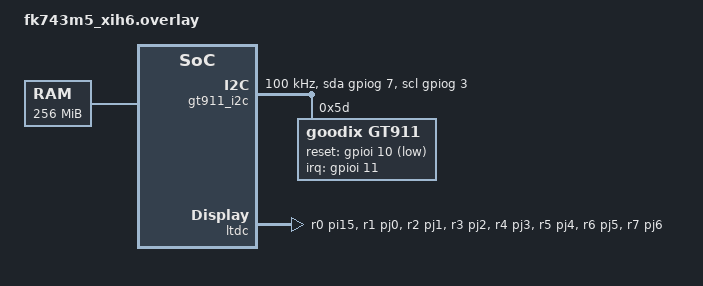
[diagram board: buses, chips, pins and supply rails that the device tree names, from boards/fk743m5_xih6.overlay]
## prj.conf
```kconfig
CONFIG_STDOUT_CONSOLE=y
# CONFIG_FLASH=y
# CONFIG_SPI=y
CONFIG_PRINTK=y
CONFIG_SHELL=y
CONFIG_I2C=y
CONFIG_I2C_SHELL=y
CONFIG_LOG=y
# CONFIG_FLASH_SHELL=y
# CONFIG_FLASH_SHELL_TEST_COMMANDS=y
# # CONFIG_FLASH_SHELL_BUFFER_SIZE=0x10000
# CONFIG_FLASH_JESD216_API=y
# CONFIG_STM32_MEMMAP=y

# CONFIG_FILE_SYSTEM=y
# CONFIG_ZMS=y
# CONFIG_SETTINGS=y
CONFIG_CACHE_MANAGEMENT=y
CONFIG_MEMC=y

CONFIG_DISPLAY=y
CONFIG_HEAP_MEM_POOL_SIZE=81920

CONFIG_MEMC=y
# CONFIG_STM32_LTDC_RGB565=y
# CONFIG_DISPLAY_INIT_PRIORITY=87
# CONFIG_STM32_LTDC_DISABLE_FMC_BANK1=y
# CONFIG_INPUT_GT911_INTERRUPT=y
# CONFIG_STM32_LTDC_FB_USE_SHARED_MULTI_HEAP=y
CONFIG_LVGL=y
CONFIG_LV_USE_LOG=y
CONFIG_LV_USE_LABEL=y
CONFIG_LV_USE_ARC=y
CONFIG_LV_USE_MONKEY=y
CONFIG_LV_FONT_MONTSERRAT_14=y
CONFIG_LV_Z_MEM_POOL_SIZE=16384
CONFIG_LV_Z_SHELL=y
CONFIG_MAIN_STACK_SIZE=10240

CONFIG_DISPLAY=y
CONFIG_DISPLAY_LOG_LEVEL_ERR=y
CONFIG_INPUT=y
# CONFIG_LV_Z_POINTER_INPUT=y
# CONFIG_INPUT_EVENT_DUMP=y
CONFIG_LV_USE_DRAW_DMA2D=y
CONFIG_LV_LOG_LEVEL_TRACE=y
CONFIG_LV_USE_SYSMON=y

# CONFIG_INPUT_LOG_LEVEL_DBG=y# CONFIG_LV_USE_PROFILER=y

CONFIG_INPUT_EVENT_DUMP=y


CONFIG_LV_Z_MEM_POOL_SIZE=16384
CONFIG_LV_Z_SHELL=y
CONFIG_MAIN_STACK_SIZE=4096

CONFIG_DISPLAY=y
CONFIG_DISPLAY_LOG_LEVEL_ERR=y

CONFIG_LOG=y
CONFIG_SHELL=y

CONFIG_LVGL=y
CONFIG_LV_USE_LOG=y
CONFIG_LV_USE_LABEL=y
CONFIG_LV_USE_ARC=y
CONFIG_LV_USE_MONKEY=y
CONFIG_LV_FONT_MONTSERRAT_14=y
CONFIG_LV_Z_POINTER_INPUT_MSGQ_COUNT=15
CONFIG_INPUT_LOG_LEVEL_DBG=y
CONFIG_LV_Z_FLUSH_THREAD=y
CONFIG_LV_CONF_SKIP=n
CONFIG_LV_Z_FLUSH_THREAD_STACK_SIZE=4096
```

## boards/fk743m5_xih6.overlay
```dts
/{
	ext_memory: memory@90000000 {
		compatible = "zephyr,memory-region";
		reg = <0x90000000 DT_SIZE_M(256)>;
		// Signify that this node should result in a dedicated linker script
		// memory region in the final executable. The region address and size
		// is taken from the <reg> property, while the name is the value of
		// this property.
		zephyr,memory-region = "EXTMEM";
		/* The ATTR_MPU_EXTMEM attribut causing a MPU FAULT */
		zephyr,memory-attr = <( DT_MEM_ARM(ATTR_MPU_IO) )>;
		// zephyr,memory-attr = <( DT_MEM_ARM(ATTR_MPU_PPB) )>;
		// both can work
	};
	chosen {
		zephyr,display = &ltdc;
		zephyr,touch = &gt911_i2c;
	};
	lvgl_pointer {
		status = "okay";
		compatible = "zephyr,lvgl-pointer-input";
		input = <&gt911_i2c>;
		swap-xy;
		invert-y;
	};
	sdram1: sdram@c0000000 {
		compatible = "zephyr,memory-region", "mmio-sram";
		//   device_type = "memory";
		reg = <0xc0000000 DT_SIZE_M(32)>;
		zephyr,memory-region = "SDRAM1";
		zephyr,memory-attr = <( DT_MEM_ARM(ATTR_MPU_RAM_NOCACHE) )>;
	};
	gt911_i2c: gt911 {
		compatible = "gpio-i2c";
		clock-frequency = <I2C_BITRATE_STANDARD>;
		#address-cells = <1>;
		#size-cells = <0>;
		scl-gpios = <&gpiog 3 (GPIO_PULL_UP | GPIO_OPEN_DRAIN)>;
		sda-gpios = <&gpiog 7 (GPIO_PULL_UP | GPIO_OPEN_DRAIN)>;
		status = "okay";
		gt911: gt911@5d {
			status = "okay";
			compatible = "goodix,gt911";
			reg = <0x5d>;
			// alt-addr = <0x14>;
			reset-gpios = <&gpioi 10 GPIO_ACTIVE_LOW>;
			irq-gpios = <&gpioi 11 GPIO_ACTIVE_HIGH>;
		};
	};
};

&w25q64_qspi {
	qspi-max-frequency = <DT_FREQ_M(120)>;
};
&pll3 {
	div-m = <25>;
	mul-n = <256>;
	div-p = <2>;
	div-q = <2>;
	div-r = <5>;
	clocks = <&clk_hse>;
	status = "okay";
};
&ltdc {
	pinctrl-0 = <&ltdc_r0_pi15 &ltdc_r1_pj0 &ltdc_r2_pj1 &ltdc_r3_pj2
	&ltdc_r4_pj3 &ltdc_r5_pj4 &ltdc_r6_pj5 &ltdc_r7_pj6
	&ltdc_g0_pj7 &ltdc_g1_pj8 &ltdc_g2_pj9 &ltdc_g3_pg10
	&ltdc_g4_ph15 &ltdc_g5_ph4 &ltdc_g6_pk1 &ltdc_g7_pk2
	&ltdc_b0_pj12 &ltdc_b1_pj13 &ltdc_b2_pj14 &ltdc_b3_pj15
	&ltdc_b4_pk3 &ltdc_b5_pk4 &ltdc_b6_pk5 &ltdc_b7_pk6
	&ltdc_de_pk7 &ltdc_clk_pi14 &ltdc_hsync_pi12 &ltdc_vsync_pi13>;
	pinctrl-names = "default";

	// disp-on-gpios = <&gpioh 6 GPIO_ACTIVE_HIGH>;
	bl-ctrl-gpios = <&gpioh 6 GPIO_ACTIVE_HIGH>;
	ext-sdram = <&sdram1>;
	status = "okay";

	clocks = <&rcc STM32_CLOCK(APB3, 3U)>,
			 <&rcc STM32_SRC_PLL3_R NO_SEL>; // 256/5 = 51.2M

			 width = <1024>;
	height = <600>;
	pixel-format = <PANEL_PIXEL_FORMAT_RGB_565>;
	display-timings {
		compatible = "zephyr,panel-timing";
		de-active = <0>;
		pixelclk-active = <0>;
		hsync-active = <0>;
		vsync-active = <0>;
		hsync-len = <1>;
		vsync-len = <1>;
		hback-porch = <160>;
		vback-porch = <23>;
		hfront-porch = <160>;
		vfront-porch = <12>;
	};
	def-back-color-red = <0x0>;
	def-back-color-green = <0x0>;
	def-back-color-blue = <0xFF>;
};
// &i2c1 {
	//     pinctrl-0 = <&i2c1_scl_pb6 &i2c4_sda_pb7>;
	//     pinctrl-names = "default";
	//     clock-frequency = <I2C_BITRATE_STANDARD>;
	//     status = "okay";

	//     ft5336: ft5336@38 {
		//         compatible = "focaltech,ft5336";
		//         reg = <0x38>;
		//         int-gpios = <&gpioh 2 GPIO_ACTIVE_LOW>;
	//     };
// };
// &fmc {
	//     pinctrl-0 = <&fmc_nbl0_pe0 &fmc_nbl1_pe1
	//         &fmc_sdclk_pg8 &fmc_sdnwe_pc0 &fmc_sdcke0_ph2
	//         &fmc_sdne0_ph3 &fmc_sdnras_pf11 &fmc_sdncas_pg15
	//         &fmc_a0_pf0 &fmc_a1_pf1 &fmc_a2_pf2 &fmc_a3_pf3 &fmc_a4_pf4
	//         &fmc_a5_pf5 &fmc_a6_pf12 &fmc_a7_pf13 &fmc_a8_pf14
	//         &fmc_a9_pf15 &fmc_a10_pg0 &fmc_a11_pg1
	//         &fmc_a12_pg2  &fmc_d0_pd14 &fmc_d1_pd15
	//         &fmc_d2_pd0 &fmc_d3_pd1 &fmc_d4_pe7 &fmc_d5_pe8 &fmc_d6_pe9
	//         &fmc_d7_pe10 &fmc_d8_pe11 &fmc_d9_pe12 &fmc_d10_pe13
	//         &fmc_d11_pe14 &fmc_d12_pe15 &fmc_d13_pd8 &fmc_d14_pd9
	//         &fmc_d15_pd10>;
	//     pinctrl-names = "default";
	//     status = "okay";

	//     sdram {
		//         status = "okay";
		//         power-up-delay = <100>;
		//         num-auto-refresh = <8>;
		//         mode-register = <0x230>;
		//         refresh-rate = <0x603>;
		//         bank@0 {
			//             reg = <0>;
			//             st,sdram-control = <STM32_FMC_SDRAM_NC_9
			//                 STM32_FMC_SDRAM_NR_13
			//                 STM32_FMC_SDRAM_MWID_16
			//                 STM32_FMC_SDRAM_NB_4
			//                 STM32_FMC_SDRAM_CAS_3
			//                 STM32_FMC_SDRAM_SDCLK_PERIOD_2
			//                 STM32_FMC_SDRAM_RBURST_ENABLE
			//                 STM32_FMC_SDRAM_RPIPE_1>;
			//             st,sdram-timing = <2 7 4 7 3 2 2>;
		//         };
	//     };
// };
```

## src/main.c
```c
/*
 * Copyright (c) 2016 Intel Corporation
 *
 * SPDX-License-Identifier: Apache-2.0
 */

#include <zephyr/kernel.h>
#include "zephyr/sys/printk.h"

int main(void) {
    printk("Hello World! %s\n", CONFIG_BOARD);
    printk("Hello World! %s\n", CONFIG_SOC);
    printk("Hello World! %s\n", CONFIG_ARCH);
}
```
